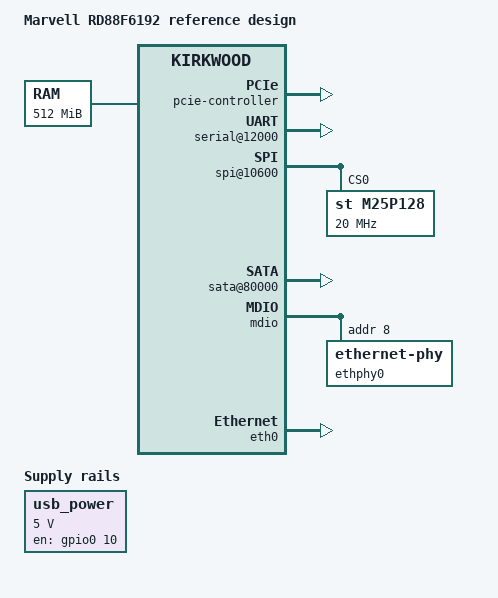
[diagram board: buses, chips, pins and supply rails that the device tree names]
/*
 * Marvell RD88F6192 Board descrition
 *
 * Andrew Lunn <andrew@lunn.ch>
 *
 * This file is licensed under the terms of the GNU General Public
 * License version 2.  This program is licensed "as is" without any
 * warranty of any kind, whether express or implied.
 *
 * This file contains the definitions that are common between the three
 * variants of the Marvell Kirkwood Development Board.
 */
/dts-v1/;

#include "kirkwood.dtsi"
#include "kirkwood-6192.dtsi"

/ {
	model = "Marvell RD88F6192 reference design";
	compatible = "marvell,rd88f6192", "marvell,kirkwood-88f6192", "marvell,kirkwood";

	memory {
		device_type = "memory";
		reg = <0x00000000 0x20000000>;
	};

	chosen {
		bootargs = "console=ttyS0,115200n8";
	};

	mbus {
		pcie-controller {
			status = "okay";

			pcie@1,0 {
				status = "okay";
			};
		};
	};

	ocp@f1000000 {
		pinctrl: pinctrl@10000 {
			pinctrl-0 = <&pmx_usb_power>;
			pinctrl-names = "default";

                        pmx_usb_power: pmx-usb-power {
                                marvell,pins = "mpp10";
                                marvell,function = "gpo";
                        };
		};

		serial@12000 {
			status = "okay";

		};

		spi@10600 {
			status = "okay";
			pinctrl-0 = <&pmx_spi>;
			pinctrl-names = "default";

			m25p128@0 {
				#address-cells = <1>;
				#size-cells = <1>;
				compatible = "st,m25p128";
				reg = <0>;
				spi-max-frequency = <20000000>;
				mode = <0>;
			};
		};

		sata@80000 {
			status = "okay";
			nr-ports = <2>;
		};
	};

	regulators {
                compatible = "simple-bus";
                #address-cells = <1>;
                #size-cells = <0>;
                pinctrl-0 = <&pmx_usb_power>;
                pinctrl-names = "default";

                usb_power: regulator@0 {
                        compatible = "regulator-fixed";
                        reg = <0>;
                        regulator-name = "USB VBUS";
                        regulator-min-microvolt = <5000000>;
                        regulator-max-microvolt = <5000000>;
                        enable-active-high;
                        regulator-always-on;
                        regulator-boot-on;
                        gpio = <&gpio0 10 GPIO_ACTIVE_HIGH>;
                };
	};
};

&mdio {
        status = "okay";

        ethphy0: ethernet-phy@8 {
                reg = <8>;
        };
};

&eth0 {
        status = "okay";
        ethernet0-port@0 {
                phy-handle = <&ethphy0>;
        };
};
